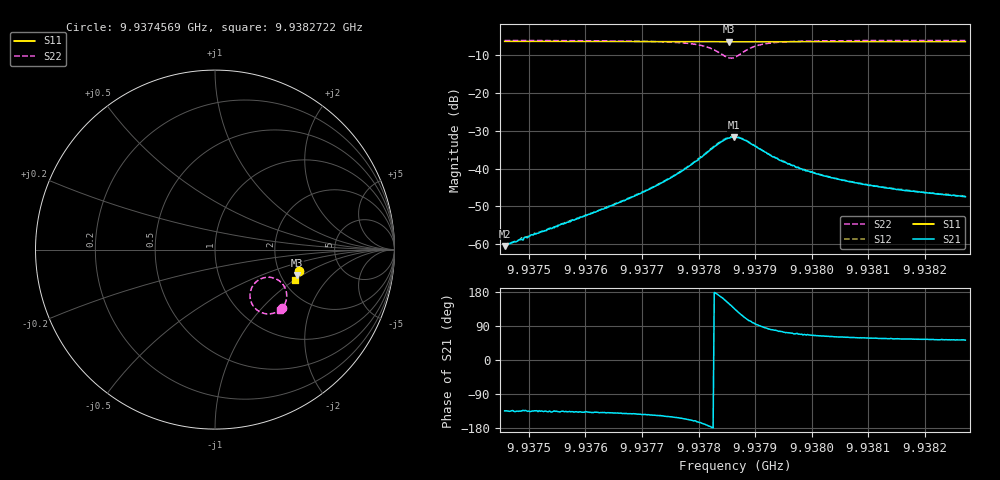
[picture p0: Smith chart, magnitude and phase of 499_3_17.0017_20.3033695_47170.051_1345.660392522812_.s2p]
#  HZ  S  RI  R  50.00
! Rohde & Schwarz Vector Network Analyzer
! Rohde-Schwarz,ZNB20-2Port,1311601062101988,3.16
! Created: UTC 3/20/2024, 11:14:25 PM
! freq[Hz]  re:S11  im:S11  re:S21  im:S21  re:S12  im:S12  re:S22  im:S22
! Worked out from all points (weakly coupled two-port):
!   401 points, 9.9374569 GHz to 9.9382722 GHz, reference 50 ohm
!   highest |S21| = -31.67 dB at 9.9378625 GHz (marker M1); lowest = -60.5 dB at 9.9374569 GHz (marker M2)
!   lowest |S11| = -6.4 dB at 9.9378544 GHz (marker M3), VSWR 2.83, Z = 122 - j45.4 ohm
!   |S11| at or under -10 dB: nowhere
!   |S22| runs from -10.7 to -6.1 dB; largest |S21 - S12| = 0.0011
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9.93745688e9  0.4681 -0.1188  -0.00066 -0.000676  -0.000689 -0.000682  0.3736 -0.3274
9.93747727e9  0.4677 -0.1202  -0.000763 -0.000753  -0.000762 -0.000781  0.3716 -0.3289
9.9374895e9  0.4673 -0.121  -0.000767 -0.000826  -0.00087 -0.000866  0.3704 -0.3299
9.93759345e9  0.4649 -0.128  -0.00168 -0.00154  -0.00173 -0.00155  0.3579 -0.3393
9.93767295e9  0.4631 -0.1333  -0.00307 -0.00246  -0.00314 -0.00243  0.3422 -0.3484
9.93773002e9  0.4616 -0.1372  -0.00516 -0.00337  -0.00531 -0.00341  0.321 -0.3557
9.93777079e9  0.4602 -0.14  -0.00834 -0.00408  -0.00859 -0.00401  0.2928 -0.3584
9.93781155e9  0.4584 -0.1428  -0.0152 -0.00277  -0.0156 -0.00259  0.2381 -0.3397
9.93782582e9  0.4575 -0.1433  -0.0188 -0.000177  -0.0193 0.000407  0.2125 -0.3135
9.93783805e9  0.4567 -0.1435  -0.0216 0.00446  -0.022 0.00521  0.1965 -0.2742
9.93785436e9  0.4561 -0.1436  -0.0216 0.0134  -0.0217 0.0145  0.2101 -0.2024
9.93786251e9  0.4561 -0.1436  -0.019 0.0179  -0.0188 0.0188  0.2381 -0.1727
9.93786455e9  0.4563 -0.1435  -0.0181 0.0188  -0.0178 0.0197  0.2467 -0.1674
9.93787474e9  0.4566 -0.1438  -0.0127 0.0217  -0.0123 0.0223  0.2933 -0.1539
9.93788901e9  0.457 -0.1445  -0.00539 0.0215  -0.00509 0.0219  0.3471 -0.1669
9.93791347e9  0.4573 -0.1465  0.000825 0.0172  0.00127 0.0173  0.3895 -0.212
9.93794608e9  0.4568 -0.1491  0.00331 0.0123  0.00363 0.0124  0.3996 -0.2551
9.9379685e9  0.4563 -0.1508  0.00394 0.0103  0.00413 0.0102  0.3984 -0.2733
9.93800112e9  0.4557 -0.1531  0.00381 0.0082  0.00392 0.00807  0.394 -0.291
9.93806431e9  0.454 -0.1574  0.00339 0.00587  0.00354 0.00588  0.3851 -0.3107
9.93813769e9  0.452 -0.1623  0.00306 0.00457  0.00313 0.00456  0.3766 -0.3237
9.93827222e9  0.4482 -0.1708  0.00258 0.00335  0.00267 0.00339  0.3644 -0.3383
